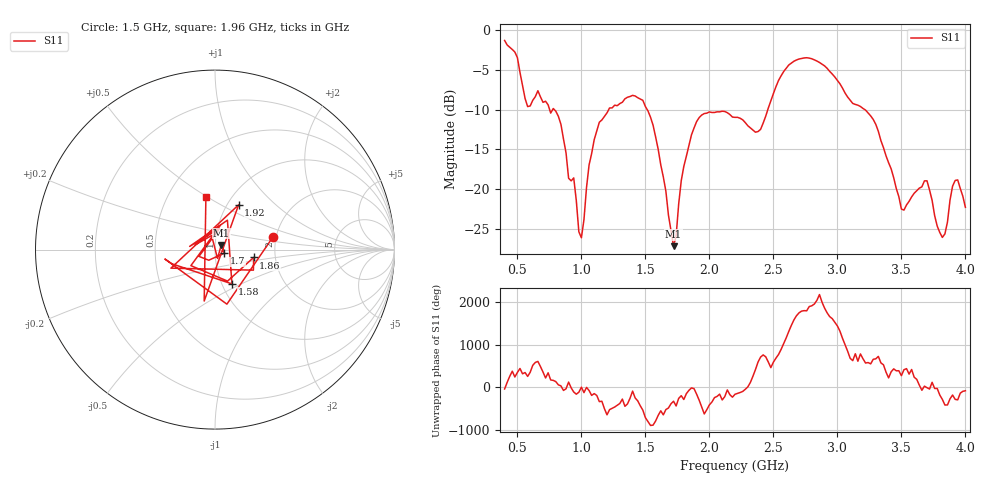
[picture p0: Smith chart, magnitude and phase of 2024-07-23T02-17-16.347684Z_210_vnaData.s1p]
!Created with skrf (http://scikit-rf.org).
# Hz S RI R 50.0
!freq ReS11 ImS11
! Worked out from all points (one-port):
!   181 points, 400 MHz to 4 GHz, reference 50 ohm
!   lowest |S11| = -27.2 dB at 1.72 GHz (marker M1), VSWR 1.09, Z = 53.6 + j2.81 ohm
!   |S11| at or under -10 dB: 789.5 MHz to 1.213 GHz (423.1 MHz wide, 42.3 % of centre); 1.515 GHz to 2.456 GHz (941.2 MHz wide, 47.4 % of centre); 3.216 GHz to end of sweep (the widest 3 of 4)
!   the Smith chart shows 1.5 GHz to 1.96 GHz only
!   S11 on the Smith chart (normalised r, x): 1.5 GHz: 1.92, +0.31; 1.58 GHz: 1.11, -0.45; 1.7 GHz: 1.11, -0.04; 1.86 GHz: 1.54, -0.14; 1.92 GHz: 1.13, +0.61; 1.96 GHz: 0.76, +0.50
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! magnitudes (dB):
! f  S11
! 400 MHz  -1.3
! 500 MHz  -3.4
! 580 MHz  -9.6
! 660 MHz  -7.6
! 860 MHz  -13.7
! 940 MHz  -18.6
! 1 GHz  -26.1
! 1.1 GHz  -13.8
! 1.3 GHz  -9.2
! 1.5 GHz  -9.6
! 1.58 GHz  -13.4
! 1.7 GHz  -25.3
! 1.72 GHz  -27.2
! 1.76 GHz  -21.9
! 1.86 GHz  -13.2
! 1.92 GHz  -11.0
! 1.96 GHz  -10.5
! 2.2 GHz  -11.0
! 2.4 GHz  -12.5
! 2.66 GHz  -3.9
! 3.1 GHz  -8.8
! 3.3 GHz  -11.8
! 3.5 GHz  -22.5
! 3.56 GHz  -21.5
! 3.7 GHz  -18.9
! 3.82 GHz  -26.1
! 3.92 GHz  -18.9
! 4 GHz  -22.3
